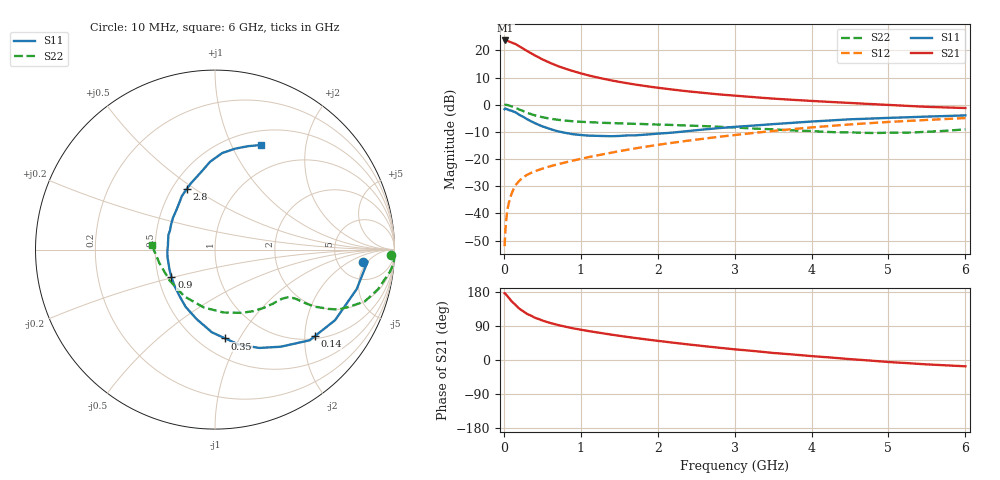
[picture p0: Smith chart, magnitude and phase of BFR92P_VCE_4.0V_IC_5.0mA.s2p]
! Infineon Technologies  Discrete & RF Semiconductors
! BFR92P
! VCE =  4.0 V,  IC =  5.0 mA
! Common Emitter S-Parameters:  Apr 2014
# GHz  S  MA  R  50
!  f  S11  S21  S12  S22
! GHz  MAG  ANG  MAG  ANG  MAG  ANG  MAG  ANG
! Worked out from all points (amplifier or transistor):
!   77 points, 10 MHz to 6 GHz, reference 50 ohm
!   highest |S21| = 23.6 dB at 20 MHz (marker M1)
!   |S21| within 3 dB of that: start of sweep to 250.3 MHz
!   unconditionally stable (mu >= 1): 1.004 GHz to 2.711 GHz
!   at 130 MHz: K = 0.24, MSG = 26.7 dB, |S12| = -30.8 dB
!   at 2.2 GHz: K = 1.04, MAG = 8.5 dB, |S12| = -14.0 dB
!   at 6 GHz: K = 0.87, MSG = 1.8 dB, |S12| = -4.9 dB
!   S11 on the Smith chart (normalised r, x): 10 MHz: 8.94, -3.86; 140 MHz: 1.06, -2.24; 350 MHz: 0.66, -0.87; 900 MHz: 0.59, -0.19; 2.8 GHz: 0.59, +0.46; 6 GHz: 0.67, +1.31
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0.01  0.8279 -4.7  14.95 175.9  0.0025 84.3  0.982 -1.6
0.02  0.853 -4.5  15.22 174.9  0.0049 88.0  1 -3.0
0.05  0.8195 -15.6  14.95 167.7  0.0124 82.5  0.9825 -7.2
0.1  0.7761 -30.4  13.99 155.1  0.0229 73.6  0.9349 -13.7
0.14  0.736 -41.0  13.27 147.6  0.0308 70.0  0.8924 -18.0
0.15  0.7302 -43.8  13.13 145.6  0.0328 69.4  0.8826 -19.1
0.2  0.6534 -55.9  11.89 135.7  0.0398 65.0  0.8167 -22.8
0.3  0.5453 -76.0  9.777 121.8  0.0512 59.1  0.7134 -27.6
0.35  0.4984 -83.4  8.915 117.3  0.0553 58.1  0.6763 -28.6
0.4  0.4613 -92.1  8.12 111.9  0.0594 57.3  0.6395 -29.8
0.5  0.4007 -104.8  6.852 104.2  0.0666 56.7  0.5901 -30.6
0.6  0.3584 -117.2  5.896 97.9  0.0735 56.7  0.5544 -31.0
0.7  0.3248 -127.7  5.167 92.6  0.0802 56.8  0.5292 -31.3
0.9  0.2868 -147.9  4.155 83.6  0.0938 58.3  0.4963 -32.5
1.1  0.2702 -163.4  3.467 76.4  0.1085 59.6  0.4789 -34.0
1.5  0.2664 168.5  2.635 63.9  0.1399 60.1  0.4552 -38.7
2.1  0.3001 138.4  1.973 48.2  0.1914 58.6  0.4279 -48.0
2.8  0.372 115.1  1.549 32.3  0.2573 54.4  0.3929 -62.1
3.1  0.4004 108.0  1.433 26.4  0.287 51.4  0.3743 -70.2
4.1  0.4999 91.5  1.154 8.8  0.3924 41.0  0.3216 -104.9
5.1  0.5789 77.4  0.976 -6.5  0.4904 27.6  0.3053 -149.9
6  0.637 66.2  0.87 -16.7  0.5692 15.2  0.3534 175.8
